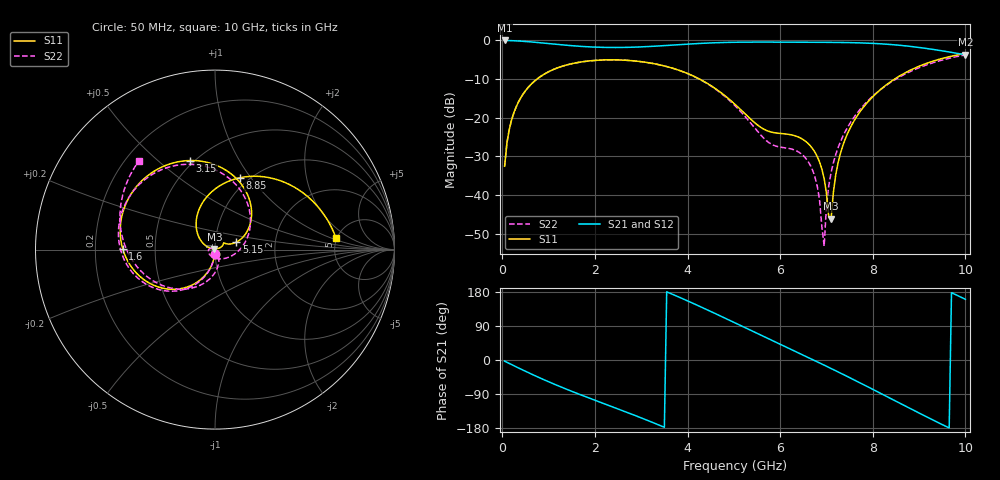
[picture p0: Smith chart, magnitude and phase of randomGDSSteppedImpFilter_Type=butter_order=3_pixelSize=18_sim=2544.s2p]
! freq	dB(S11)	phase(S11)	dB(S12)	phase(S12)
!  dB(S21)	phase(S21)	dB(S22)	phase(S22)
!S-par simulation data
#  GHz  S  DB  R 50
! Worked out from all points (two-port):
!   200 points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, 50 MHz to 10 GHz, reference 50 ohm
!   highest |S21| = 0.00 dB at 50 MHz (marker M1); lowest = -3.7 dB at 10 GHz (marker M2)
!   |S21| within 3 dB of the highest: start of sweep to 9.659 GHz
!   lowest |S11| = -46.2 dB at 7.1 GHz (marker M3), VSWR 1.01, Z = 49.7 + j0.39 ohm
!   |S11| at or under -10 dB: start of sweep to 749.8 MHz; 4.259 GHz to 8.471 GHz (4.212 GHz wide, 66.2 % of centre)
!   |S22| runs from -53.3 to -3.7 dB; largest |S21 - S12| = 0
!   S11 on the Smith chart (normalised r, x): 50 MHz: 1.00, -0.05; 1.6 GHz: 0.32, +0.00; 3.15 GHz: 0.48, +0.64; 5.15 GHz: 1.27, +0.11; 8.85 GHz: 0.91, +0.88; 10 GHz: 4.93, +1.15
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0.05  -32.57 -93.1  -0.00 -3.0  -0.00 -3.0  -32.57 -92.9
0.2  -20.61 -102.7  -0.05 -12.1  -0.05 -12.1  -20.61 -102.1
0.45  -13.87 -118.1  -0.22 -26.9  -0.22 -26.9  -13.87 -116.7
1.6  -5.78 179.6  -1.45 -87.4  -1.45 -87.4  -5.78 -175.5
1.75  -5.49 172.3  -1.57 -94.5  -1.57 -94.5  -5.49 177.7
3.15  -5.76 105.7  -1.58 -160.0  -1.58 -160.0  -5.76 114.1
3.4  -6.32 93.4  -1.41 -172.4  -1.41 -172.4  -6.33 101.8
4.2  -9.64 53.6  -0.82 145.1  -0.82 145.1  -9.69 58.5
5.05  -16.81 20.7  -0.46 96.6  -0.46 96.6  -17.19 0.1
5.15  -17.93 19.2  -0.45 90.8  -0.45 90.8  -18.46 -8.8
5.85  -23.83 34.2  -0.43 50.4  -0.43 50.4  -27.09 -105.2
6.7  -28.00 24.0  -0.47 1.2  -0.47 1.2  -33.58 159.8
6.85  -31.43 19.6  -0.48 -7.6  -0.48 -7.6  -41.23 154.1
6.95  -35.77 19.6  -0.48 -13.5  -0.48 -13.5  -53.26 -87.1
7  -39.53 24.1  -0.49 -16.4  -0.49 -16.4  -42.80 -55.2
7.05  -45.80 48.2  -0.49 -19.4  -0.49 -19.4  -37.61 -53.5
7.1  -46.19 126.9  -0.50 -22.4  -0.50 -22.4  -34.20 -54.9
7.2  -34.83 162.3  -0.51 -28.4  -0.51 -28.4  -29.55 -59.6
7.45  -24.25 155.9  -0.55 -43.5  -0.55 -43.5  -22.62 -73.8
8.35  -10.99 102.3  -1.02 -99.3  -1.02 -99.3  -11.14 -127.5
8.85  -7.48 71.1  -1.59 -130.6  -1.59 -130.6  -7.82 -158.1
10  -3.38 5.3  -3.71 160.2  -3.71 160.2  -3.74 130.8
